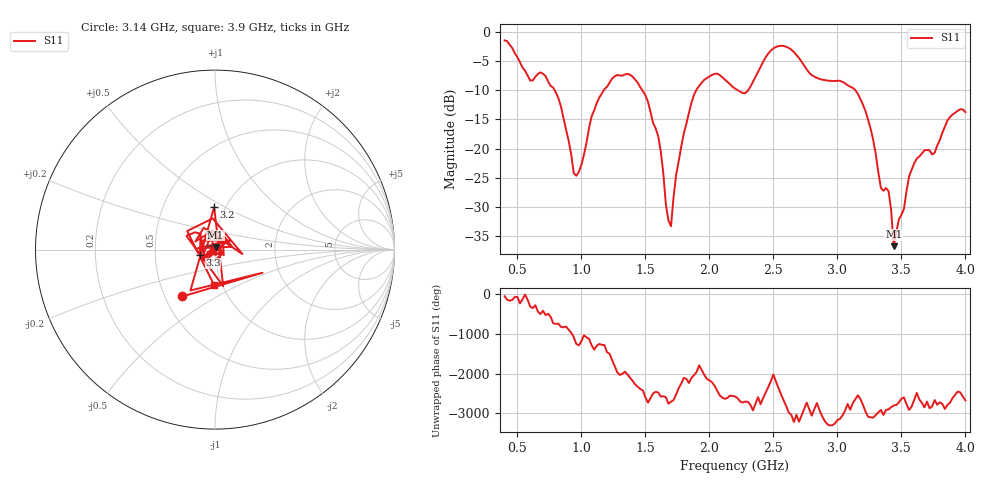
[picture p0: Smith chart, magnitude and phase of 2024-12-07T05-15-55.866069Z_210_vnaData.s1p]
!Created with skrf (http://scikit-rf.org).
# Hz S RI R 50.0
!freq ReS11 ImS11
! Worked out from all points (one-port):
!   181 points, 400 MHz to 4 GHz, reference 50 ohm
!   lowest |S11| = -36.7 dB at 3.44 GHz (marker M1), VSWR 1.03, Z = 50.3 + j1.44 ohm
!   |S11| at or under -10 dB: 791.1 MHz to 1.175 GHz (383.4 MHz wide, 39 % of centre); 1.476 GHz to 1.897 GHz (421.3 MHz wide, 25 % of centre); 3.141 GHz to end of sweep (the widest 3 of 4)
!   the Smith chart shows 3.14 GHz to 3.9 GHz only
!   S11 on the Smith chart (normalised r, x): 3.14 GHz: 0.61, -0.36; 3.2 GHz: 0.88, +0.45; 3.3 GHz: 0.84, -0.05; 3.9 GHz: 0.92, -0.37
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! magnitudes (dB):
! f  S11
! 400 MHz  -1.5
! 600 MHz  -8.3
! 720 MHz  -7.6
! 860 MHz  -14.8
! 960 MHz  -24.6
! 1.12 GHz  -12.2
! 1.3 GHz  -7.5
! 1.52 GHz  -12.0
! 1.6 GHz  -17.9
! 1.66 GHz  -29.6
! 1.7 GHz  -33.3
! 1.76 GHz  -22.1
! 1.92 GHz  -9.3
! 2.06 GHz  -7.2
! 2.2 GHz  -9.7
! 2.3 GHz  -10.1
! 2.5 GHz  -2.8
! 2.66 GHz  -3.5
! 3.1 GHz  -9.4
! 3.14 GHz  -10.0
! 3.2 GHz  -12.5
! 3.3 GHz  -20.9
! 3.34 GHz  -26.7
! 3.4 GHz  -27.3
! 3.44 GHz  -36.7
! 3.56 GHz  -24.7
! 3.9 GHz  -14.2
! 4 GHz  -13.7
